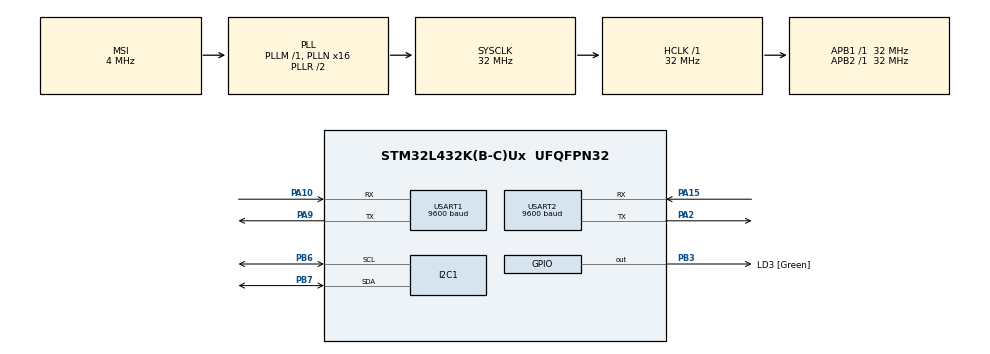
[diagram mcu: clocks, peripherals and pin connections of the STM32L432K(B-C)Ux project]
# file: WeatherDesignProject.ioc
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I2C1.I2C_Fall_Time=0
I2C1.I2C_Rise_Time=0
I2C1.Timing=0x00707CBB
Mcu.Family=STM32L4
Mcu.Name=STM32L432K(B-C)Ux
Mcu.Package=UFQFPN32
NVIC.PriorityGroup=NVIC_PRIORITYGROUP_4
PA0.GPIO_Label=MCO [High speed clock in]
PA0.Mode=HSE-External-Clock-Source-for-LittleOrca
PA0.Signal=RCC_CK_IN
PA10.Mode=Asynchronous
PA10.Signal=USART1_RX
PA13\ (JTMS-SWDIO).GPIO_Label=SWDIO
PA13\ (JTMS-SWDIO).Mode=Serial_Wire
PA13\ (JTMS-SWDIO).Signal=SYS_JTMS-SWDIO
PA14\ (JTCK-SWCLK).GPIO_Label=SWCLK
PA14\ (JTCK-SWCLK).Mode=Serial_Wire
PA14\ (JTCK-SWCLK).Signal=SYS_JTCK-SWCLK
PA15\ (JTDI).Mode=Asynchronous
PA15\ (JTDI).Signal=USART2_RX
PA2.Mode=Asynchronous
PA2.Signal=USART2_TX
PA9.Mode=Asynchronous
PA9.Signal=USART1_TX
PB3\ (JTDO-TRACESWO).GPIO_Label=LD3 [Green]
PB3\ (JTDO-TRACESWO).Signal=GPIO_Output
PB6.Mode=I2C
PB6.Signal=I2C1_SCL
PB7.Mode=I2C
PB7.Signal=I2C1_SDA
PC14-OSC32_IN\ (PC14).Mode=LSE-External-Oscillator
PC14-OSC32_IN\ (PC14).Signal=RCC_OSC32_IN
PC15-OSC32_OUT\ (PC15).Mode=LSE-External-Oscillator
PC15-OSC32_OUT\ (PC15).Signal=RCC_OSC32_OUT
ProjectManager.HeapSize=0x200
ProjectManager.StackSize=0x400
ProjectManager.TargetToolchain=STM32CubeIDE
RCC.AHBFreq_Value=32000000
RCC.APB1Freq_Value=32000000
RCC.APB1TimFreq_Value=32000000
RCC.APB2Freq_Value=32000000
RCC.APB2TimFreq_Value=32000000
RCC.CortexFreq_Value=32000000
RCC.HCLKFreq_Value=32000000
RCC.HSE_VALUE=8000000
RCC.HSI16_VALUE=16000000
RCC.HSI48_VALUE=48000000
RCC.HSI_VALUE=16000000
RCC.MSI_VALUE=4000000
RCC.PLLMUL=RCC_PLLMUL_4
RCC.PLLN=16
RCC.SYSCLKFreq_VALUE=32000000
RCC.SYSCLKSource=RCC_SYSCLKSOURCE_PLLCLK
RCC.VCOOutputFreq_Value=64000000
USART1.BaudRate=9600
USART1.VirtualMode-Asynchronous=VM_ASYNC
USART2.BaudRate=9600
USART2.VirtualMode-Asynchronous=VM_ASYNC
board=NUCLEO-L432KC

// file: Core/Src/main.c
/* USER CODE BEGIN Header */
/**
  ******************************************************************************
  * @file           : main.c
  * @brief          : Main program body
  ******************************************************************************
  * @attention
  *
  * This software is licensed under terms that can be found in the LICENSE file
  * in the root directory of this software component.
  *
  ******************************************************************************
  */
/* USER CODE END Header */
#include "main.h"

/* USER CODE BEGIN Includes */
#include <stdio.h>
#include <string.h>
#include "ssd1306.h"
#include <stdarg.h>
#include "aht20.h"
#include "bmp280.h"
#include "hm_10.h"
/* USER CODE END Includes */

I2C_HandleTypeDef hi2c1;
UART_HandleTypeDef huart1;
UART_HandleTypeDef huart2;

/* USER CODE BEGIN 0 */

// Retarget printf to USART2
int _write(int file, char *ptr, int len) {
    HAL_UART_Transmit(&huart2, (uint8_t*)ptr, len, HAL_MAX_DELAY);
    return len;
}

//debug info to UART2
int send_to_uart2(const char* format, ...) {
    char buffer[128];
    va_list args;
    va_start(args, format);
    vsnprintf(buffer, sizeof(buffer), format, args);
    va_end(args);
    HAL_UART_Transmit(&huart2, (uint8_t*)buffer, strlen(buffer), HAL_MAX_DELAY);
    return 0;
}

//sensor data to Bluetooth
int send_to_bluetooth(const char* format, ...) {
    char buffer[128];
    va_list args;
    va_start(args, format);
    vsnprintf(buffer, sizeof(buffer), format, args);
    va_end(args);
    HM_10_SendMessage(buffer);
    return 0;
}

/* USER CODE END 0 */

void SystemClock_Config(void);
void MX_GPIO_Init(void);
void MX_I2C1_Init(void);
void MX_USART1_UART_Init(void);
void MX_USART2_UART_Init(void);
void I2C_Scanner(void);

int main(void)
{
    HAL_Init();
    SystemClock_Config();
    MX_GPIO_Init();
    MX_I2C1_Init();
    MX_USART1_UART_Init();  //Bluetooth UART
    MX_USART2_UART_Init();  //Debug UART

    ssd1306_Init();  // OLED Display
    AHT20_Init(&hi2c1);  // AHT20 sensor
    HM_10_Init(&huart1);  //Bluetooth module

    uint8_t bmp280_initialized = 0;  //check if initialized

    // Initial BMP280 initialization
    if (HAL_I2C_IsDeviceReady(&hi2c1, (uint16_t)(0x76 << 1), 1, 10) == HAL_OK) {
        if (!bmp280_init(&hi2c1)) {
            send_to_uart2("BMP280 initialization failed.\r\n");
        } else {
            bmp280_initialized = 1;
            send_to_uart2("BMP280 initialized successfully.\r\n");
        }
    }

    // I2C scanner
    I2C_Scanner(); // Scan I2C bus

    char text[32] = {0};

    while (1)
    {
        float temperature = -1.0f, humidity = -1.0f, pressure = -1.0f;

        // Read temp and humidity from AHT20
        temperature = AHT20_ReadTemperature();
        humidity = AHT20_ReadHumidity();

        //reinitialize BMP280 if necessary if disconnect
        if (!bmp280_initialized) {
            if (HAL_I2C_IsDeviceReady(&hi2c1, (uint16_t)(0x76 << 1), 1, 10) == HAL_OK) {
                if (!bmp280_init(&hi2c1)) {
                    send_to_uart2("BMP280 re-initialization failed.\r\n");
                } else {
                    bmp280_initialized = 1;
                    send_to_uart2("BMP280 re-initialized successfully.\r\n");
                }
            }
        }

        // Read BMP280 pressure
        if (bmp280_initialized) {
            bmp280_measure();
            pressure = bmp280_getpressure() / 100.0;  // Convert to hPa
        }

        // Convert temp to Fahrenheit
        float temperature_f = (temperature * 9.0f / 5.0f) + 32.0f;

        // UART2 debug output to virtual terminal
        send_to_uart2("===== SENSOR READINGS =====\r\n");
        if (temperature != -999.0f && humidity != -999.0f) {
            send_to_uart2("AHT20: Temperature: %.2f F\r\n", temperature_f);
            send_to_uart2("AHT20: Humidity: %.2f %%\r\n", humidity);
        } else {
            send_to_uart2("AHT20: Not detected or failed.\r\n");
            temperature = -1.0f;
            humidity = -1.0f;
        }

        if (bmp280_initialized && pressure != -999.0f) {
            send_to_uart2("BMP280: Pressure: %.2f hPa\r\n", pressure);
        } else {
            send_to_uart2("BMP280: Not detected or failed.\r\n");
            pressure = -1.0f;
        }
        send_to_uart2("===========================\r\n\r\n");

        // Update OLED display
        ssd1306_Fill(Black);
        ssd1306_SetCursor(1, 1);
        ssd1306_WriteString("Weather Station", Font_6x8, White);

        // Display temp and humidity on OLED
        if (temperature != -1.0f && humidity != -1.0f) {
            snprintf(text, sizeof(text), "Temp: %.1f F", temperature_f);  // Fahrenheit
            ssd1306_SetCursor(1, 15);
            ssd1306_WriteString(text, Font_6x8, White);

            snprintf(text, sizeof(text), "Humidity: %.2f %%", humidity);
            ssd1306_SetCursor(1, 30);
            ssd1306_WriteString(text, Font_6x8, White);
        } else {
            ssd1306_SetCursor(1, 15);
            ssd1306_WriteString("AHT20: N/A", Font_6x8, White);
        }

        // Display pressure on OLED
        if (pressure != -1.0f) {
            snprintf(text, sizeof(text), "Pres: %.2f hPa", pressure);
        } else {
            snprintf(text, sizeof(text), "Pres: N/A");
        }
        ssd1306_SetCursor(1, 45);
        ssd1306_WriteString(text, Font_6x8, White);

        // Update the OLED screen
        ssd1306_UpdateScreen();

        // Send only the simplified sensor data over Bluetooth
        if (temperature != -999.0f && humidity != -999.0f && pressure != -999.0f) {
            char bluetoothMessage[128];
            // Format sensor data for Bluetooth transmission
            snprintf(bluetoothMessage, sizeof(bluetoothMessage), "Temp:%.2f,Humidity:%.2f,Pressure:%.2f", temperature_f, humidity, pressure);
            send_to_bluetooth(bluetoothMessage);  // Send the structured data via Bluetooth only
        }

        HAL_Delay(2000);
    }
}

// UART receive complete callback for HM-10
void HAL_UART_RxCpltCallback(UART_HandleTypeDef *huart)
{
    if (huart->Instance == huart1.Instance) {
        HM_10_ReceiveHandler(huart);  // Process Bluetooth messages
    }
}

void I2C_Scanner(void) {
    send_to_uart2("===== I2C SCAN START =====\r\n");
    for(uint8_t i = 1; i < 128; i++) {
        if(HAL_I2C_IsDeviceReady(&hi2c1, (uint16_t)(i << 1), 1, 10) == HAL_OK) {
            send_to_uart2("I2C: Device found at 0x%02X\r\n", i);
        }
    }
    send_to_uart2("===== I2C SCAN END =====\r\n\r\n");
}

void SystemClock_Config(void)
{
  RCC_OscInitTypeDef RCC_OscInitStruct = {0};
  RCC_ClkInitTypeDef RCC_ClkInitStruct = {0};

  /** Configure the main internal regulator output voltage
  */
  if (HAL_PWREx_ControlVoltageScaling(PWR_REGULATOR_VOLTAGE_SCALE1) != HAL_OK)
  {
    Error_Handler();
  }

  /** Initializes the RCC Oscillators according to the specified parameters
  * in the RCC_OscInitTypeDef structure.
  */
  RCC_OscInitStruct.OscillatorType = RCC_OSCILLATORTYPE_LSE|RCC_OSCILLATORTYPE_MSI;
  RCC_OscInitStruct.LSEState = RCC_LSE_ON;
  RCC_OscInitStruct.MSIState = RCC_MSI_ON;
  RCC_OscInitStruct.MSICalibrationValue = 0;
  RCC_OscInitStruct.MSIClockRange = RCC_MSIRANGE_6;
  RCC_OscInitStruct.PLL.PLLState = RCC_PLL_ON;
  RCC_OscInitStruct.PLL.PLLSource = RCC_PLLSOURCE_MSI;
  RCC_OscInitStruct.PLL.PLLM = 1;
  RCC_OscInitStruct.PLL.PLLN = 16;
  RCC_OscInitStruct.PLL.PLLP = RCC_PLLP_DIV7;
  RCC_OscInitStruct.PLL.PLLQ = RCC_PLLQ_DIV2;
  RCC_OscInitStruct.PLL.PLLR = RCC_PLLR_DIV2;
  if (HAL_RCC_OscConfig(&RCC_OscInitStruct) != HAL_OK)
  {
    Error_Handler();
  }

  /** Initializes the CPU, AHB and APB buses clocks
  */
  RCC_ClkInitStruct.ClockType = RCC_CLOCKTYPE_HCLK|RCC_CLOCKTYPE_SYSCLK
                              |RCC_CLOCKTYPE_PCLK1|RCC_CLOCKTYPE_PCLK2;
  RCC_ClkInitStruct.SYSCLKSource = RCC_SYSCLKSOURCE_PLLCLK;
  RCC_ClkInitStruct.AHBCLKDivider = RCC_SYSCLK_DIV1;
  RCC_ClkInitStruct.APB1CLKDivider = RCC_HCLK_DIV1;
  RCC_ClkInitStruct.APB2CLKDivider = RCC_HCLK_DIV1;

  if (HAL_RCC_ClockConfig(&RCC_ClkInitStruct, FLASH_LATENCY_1) != HAL_OK)
  {
    Error_Handler();
  }

  /** Enable MSI Auto calibration
  */
  HAL_RCCEx_EnableMSIPLLMode();
}

void MX_I2C1_Init(void)
{
  hi2c1.Instance = I2C1;
  hi2c1.Init.Timing = 0x00707CBB;
  hi2c1.Init.OwnAddress1 = 0;
  hi2c1.Init.AddressingMode = I2C_ADDRESSINGMODE_7BIT;
  hi2c1.Init.DualAddressMode = I2C_DUALADDRESS_DISABLE;
  hi2c1.Init.OwnAddress2 = 0;
  hi2c1.Init.OwnAddress2Masks = I2C_OA2_NOMASK;
  hi2c1.Init.GeneralCallMode = I2C_GENERALCALL_DISABLE;
  hi2c1.Init.NoStretchMode = I2C_NOSTRETCH_DISABLE;
  if (HAL_I2C_Init(&hi2c1) != HAL_OK)
  {
    Error_Handler();
  }

  if (HAL_I2CEx_ConfigAnalogFilter(&hi2c1, I2C_ANALOGFILTER_ENABLE) != HAL_OK)
  {
    Error_Handler();
  }

  if (HAL_I2CEx_ConfigDigitalFilter(&hi2c1, 0) != HAL_OK)
  {
    Error_Handler();
  }
}

void MX_USART1_UART_Init(void)
{
  huart1.Instance = USART1;
  huart1.Init.BaudRate = 9600;
  huart1.Init.WordLength = UART_WORDLENGTH_8B;
  huart1.Init.StopBits = UART_STOPBITS_1;
  huart1.Init.Parity = UART_PARITY_NONE;
  huart1.Init.Mode = UART_MODE_TX_RX;
  huart1.Init.HwFlowCtl = UART_HWCONTROL_NONE;
  huart1.Init.OverSampling = UART_OVERSAMPLING_16;
  huart1.Init.OneBitSampling = UART_ONE_BIT_SAMPLE_DISABLE;
  huart1.AdvancedInit.AdvFeatureInit = UART_ADVFEATURE_NO_INIT;
  if (HAL_UART_Init(&huart1) != HAL_OK)
  {
    Error_Handler();
  }
}

void MX_USART2_UART_Init(void)
{
  huart2.Instance = USART2;
  huart2.Init.BaudRate = 9600;
  huart2.Init.WordLength = UART_WORDLENGTH_8B;
  huart2.Init.StopBits = UART_STOPBITS_1;
  huart2.Init.Parity = UART_PARITY_NONE;
  huart2.Init.Mode = UART_MODE_TX_RX;
  huart2.Init.HwFlowCtl = UART_HWCONTROL_NONE;
  huart2.Init.OverSampling = UART_OVERSAMPLING_16;
  huart2.Init.OneBitSampling = UART_ONE_BIT_SAMPLE_DISABLE;
  huart2.AdvancedInit.AdvFeatureInit = UART_ADVFEATURE_NO_INIT;
  if (HAL_UART_Init(&huart2) != HAL_OK)
  {
    Error_Handler();
  }
}

void MX_GPIO_Init(void)
{
  GPIO_InitTypeDef GPIO_InitStruct = {0};

  /* GPIO Ports Clock Enable */
  __HAL_RCC_GPIOC_CLK_ENABLE();
  __HAL_RCC_GPIOA_CLK_ENABLE();
  __HAL_RCC_GPIOB_CLK_ENABLE();

  /*Configure GPIO pin Output Level */
  HAL_GPIO_WritePin(LD3_GPIO_Port, LD3_Pin, GPIO_PIN_RESET);

  /*Configure GPIO pin : LD3_Pin */
  GPIO_InitStruct.Pin = LD3_Pin;
  GPIO_InitStruct.Mode = GPIO_MODE_OUTPUT_PP;
  GPIO_InitStruct.Pull = GPIO_NOPULL;
  GPIO_InitStruct.Speed = GPIO_SPEED_FREQ_LOW;
  HAL_GPIO_Init(LD3_GPIO_Port, &GPIO_InitStruct);
}

void Error_Handler(void)
{
  __disable_irq();
  while (1)
  {
  }
}
